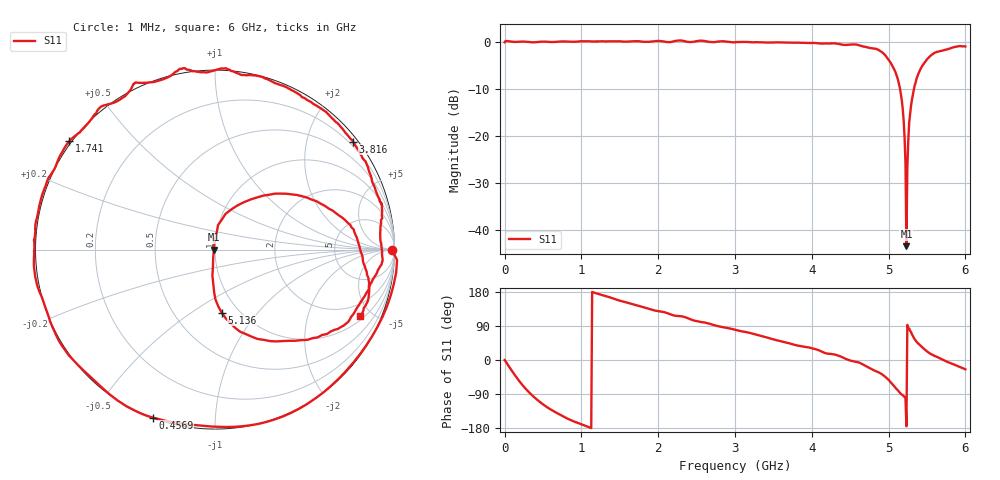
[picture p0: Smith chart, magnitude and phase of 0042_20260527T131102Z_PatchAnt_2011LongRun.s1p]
# Hz S RI R 50
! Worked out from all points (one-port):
!   501 points, 1 MHz to 6 GHz, reference 50 ohm
!   lowest |S11| = -43.5 dB at 5.232 GHz (marker M1), VSWR 1.01, Z = 49.3 - j0.0583 ohm
!   |S11| at or under -10 dB: 5.149 GHz to 5.331 GHz (182.6 MHz wide, 3.48 % of centre)
!   S11 on the Smith chart (normalised r, x): 1 MHz: open; 456.9 MHz: 0.00, -0.70; 1.741 GHz: -0.01, +0.33; 3.816 GHz: 0.12, +2.90; 5.136 GHz: 0.83, -0.67; 6 GHz: 1.19, -4.26
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1000000  0.9883 -0.0043
8.4986e7  0.9058 -0.4301
2.28962e8  0.4216 -0.9106
3.12948e8  0.1034 -0.9876
4.56924e8  -0.3459 -0.9361
7.56874e8  -0.8554 -0.5317
1.068822e9  -1.009 -0.0905
1.50075e9  -0.9258 0.404
1.74071e9  -0.8113 0.6046
2.256624e9  -0.4534 0.9239
3.0005e9  0.1737 0.9705
3.756374e9  0.7359 0.6411
3.816364e9  0.7682 0.6013
4.308282e9  0.9294 0.2316
4.50025e9  0.9307 -0.0194
4.86019e9  0.6998 -0.4322
5.028162e9  0.307 -0.5098
5.136144e9  0.0372 -0.3509
5.184136e9  -0.00956 -0.1926
5.196134e9  -0.0144 -0.1449
5.208132e9  -0.0115 -0.0949
5.232128e9  -0.00664 -0.00059
5.256124e9  0.00837 0.0874
5.268122e9  0.0168 0.1365
5.292118e9  0.0587 0.199
5.412098e9  0.3974 0.3112
5.628062e9  0.7732 0.1117
6e9  0.8092 -0.3713
